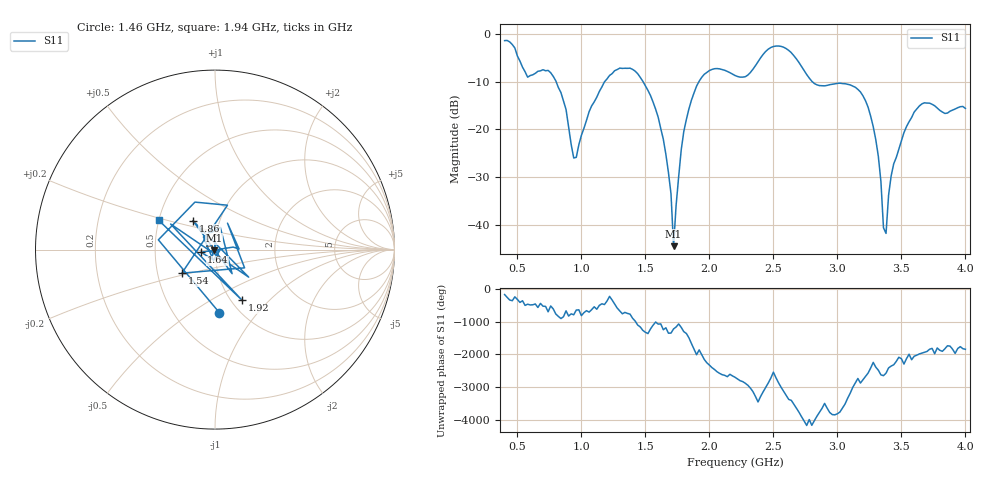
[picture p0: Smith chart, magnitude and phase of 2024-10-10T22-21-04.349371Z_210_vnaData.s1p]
! Created with skrf (http://scikit-rf.org).
# Hz S RI R 50.0
!freq ReS11 ImS11
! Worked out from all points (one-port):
!   181 points, 400 MHz to 4 GHz, reference 50 ohm
!   lowest |S11| = -44.5 dB at 1.72 GHz (marker M1), VSWR 1.01, Z = 49.5 - j0.341 ohm
!   |S11| at or under -10 dB: 803 MHz to 1.18 GHz (377.4 MHz wide, 38.1 % of centre); 1.482 GHz to 1.918 GHz (435.2 MHz wide, 25.6 % of centre); 2.805 GHz to end of sweep
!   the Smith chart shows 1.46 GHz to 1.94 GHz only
!   S11 on the Smith chart (normalised r, x): 1.46 GHz: 0.81, -0.65; 1.54 GHz: 0.67, -0.18; 1.64 GHz: 0.86, -0.03; 1.86 GHz: 0.74, +0.25; 1.92 GHz: 1.12, -0.71; 1.94 GHz: 0.50, +0.19
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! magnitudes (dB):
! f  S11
! 400 MHz  -1.4
! 760 MHz  -8.1
! 860 MHz  -14.0
! 960 MHz  -25.9
! 1.08 GHz  -15.1
! 1.3 GHz  -7.1
! 1.46 GHz  -9.1
! 1.54 GHz  -12.9
! 1.64 GHz  -22.1
! 1.7 GHz  -33.5
! 1.72 GHz  -44.5
! 1.76 GHz  -29.9
! 1.86 GHz  -13.8
! 1.92 GHz  -9.9
! 1.94 GHz  -9.1
! 2.2 GHz  -8.7
! 2.5 GHz  -2.6
! 2.66 GHz  -4.5
! 2.84 GHz  -10.6
! 3.1 GHz  -10.6
! 3.28 GHz  -19.4
! 3.34 GHz  -30.9
! 3.36 GHz  -40.6
! 3.38 GHz  -41.8
! 3.42 GHz  -29.7
! 3.56 GHz  -18.4
! 3.68 GHz  -14.4
! 4 GHz  -15.6
